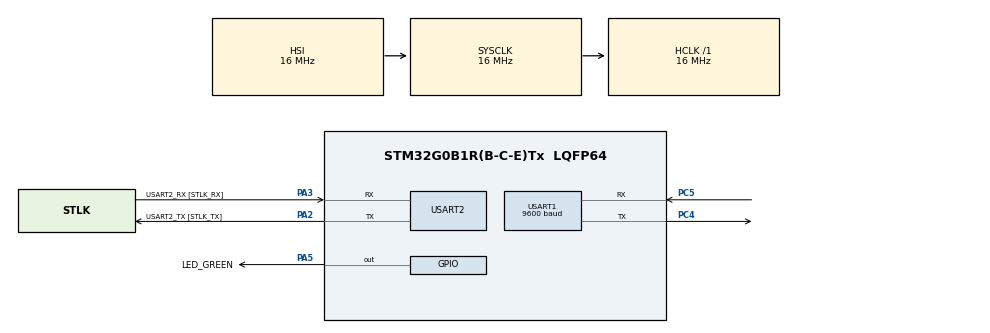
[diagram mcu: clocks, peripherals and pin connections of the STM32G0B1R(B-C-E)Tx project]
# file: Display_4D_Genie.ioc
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Mcu.Family=STM32G0
Mcu.Name=STM32G0B1R(B-C-E)Tx
Mcu.Package=LQFP64
NVIC.USART1_IRQn=true\:0\:0\:false\:false\:true\:true\:true
PA13.GPIO_Label=TMS
PA13.Mode=Serial_Wire
PA13.Signal=SYS_SWDIO
PA14-BOOT0.GPIO_Label=TCK
PA14-BOOT0.Mode=Serial_Wire
PA14-BOOT0.Signal=SYS_SWCLK
PA2.GPIO_Label=USART2_TX [STLK_TX]
PA2.Mode=Asynchronous
PA2.Signal=USART2_TX
PA3.GPIO_Label=USART2_RX [STLK_RX]
PA3.Mode=Asynchronous
PA3.Signal=USART2_RX
PA5.GPIO_Label=LED_GREEN
PA5.GPIO_Speed=GPIO_SPEED_FREQ_HIGH
PA5.Signal=GPIO_Output
PC13.Mode=SYS_WakeUp1
PC13.Signal=SYS_WKUP2
PC14-OSC32_IN\ (PC14).Mode=LSE-External-Oscillator
PC14-OSC32_IN\ (PC14).Signal=RCC_OSC32_IN
PC15-OSC32_OUT\ (PC15).Mode=LSE-External-Oscillator
PC15-OSC32_OUT\ (PC15).Signal=RCC_OSC32_OUT
PC4.GPIO_PuPd=GPIO_PULLUP
PC4.Mode=Asynchronous
PC4.Signal=USART1_TX
PC5.GPIO_PuPd=GPIO_PULLUP
PC5.Mode=Asynchronous
PC5.Signal=USART1_RX
PF0-OSC_IN\ (PF0).GPIO_Label=MCO
PF0-OSC_IN\ (PF0).Mode=HSE-External-Clock-Source
PF0-OSC_IN\ (PF0).Signal=RCC_OSC_IN
ProjectManager.HeapSize=0x200
ProjectManager.StackSize=0x400
ProjectManager.TargetToolchain=STM32CubeIDE
RCC.AHBFreq_Value=16000000
RCC.CortexFreq_Value=16000000
RCC.EXTERNAL_CLOCK_VALUE=12288000
RCC.HCLKFreq_Value=16000000
RCC.HSE_VALUE=8000000
RCC.HSI48_VALUE=48000000
RCC.HSI_VALUE=16000000
RCC.SYSCLKFreq_VALUE=16000000
RCC.USBFreq_Value=48000000
RCC.VCOOutputFreq_Value=128000000
USART1.BaudRate=9600
USART1.VirtualMode-Asynchronous=VM_ASYNC
USART2.VirtualMode-Asynchronous=VM_ASYNC
VP_SYS_VS_DBSignals.Mode=DisableDeadBatterySignals
board=NUCLEO-G0B1RE

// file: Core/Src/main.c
/* USER CODE BEGIN Header */
/**
  ******************************************************************************
  * @file           : main.c
  * @brief          : Main program body
  ******************************************************************************
  * @attention
  *
  * <h2><center>&copy; Copyright (c) 2021 STMicroelectronics.
  * All rights reserved.</center></h2>
  *
  * This software component is licensed by ST under BSD 3-Clause license,
  * the "License"; You may not use this file except in compliance with the
  * License. You may obtain a copy of the License at:
  *                        opensource.org/licenses/BSD-3-Clause
  *
  ******************************************************************************
  */
/* USER CODE END Header */
#include "main.h"

/* USER CODE BEGIN Includes */
#include <stdarg.h>
#include "visi_genie.h"
/* USER CODE END Includes */

/* USER CODE BEGIN PTD */
typedef enum {
	RX_REINITIALIZE,
	RX_READY
} RxStatus;
/* USER CODE END PTD */

/* USER CODE BEGIN PD */
#define RX_BUF_SIZE			64
#define UPDATE_INTERVAL		10

#define CW	0
#define CCW 1
/* USER CODE END PD */

UART_HandleTypeDef huart1;
UART_HandleTypeDef huart2;

/* USER CODE BEGIN PV */
struct RxBuffer {
    uint8_t data[RX_BUF_SIZE];
    uint8_t head; // read from head
    uint8_t tail; // write from tail
    uint8_t count;
    uint8_t new;
    RxStatus status;
} rx_buffer;
/* USER CODE END PV */

void SystemClock_Config(void);
static void MX_GPIO_Init(void);
static void MX_USART2_UART_Init(void);
static void MX_USART1_UART_Init(void);

/* USER CODE BEGIN 0 */
// Uart Functions

char buffer[100];
void myprintf(const char *fmt, ...) {
  va_list args;
  va_start(args, fmt);
  vsnprintf(buffer, sizeof(buffer), fmt, args);
  va_end(args);

  int len = strlen(buffer);
  HAL_UART_Transmit(&huart2, (uint8_t*)buffer, len, 1000);

}

RxStatus ReInitializeRX() {
	HAL_StatusTypeDef res = HAL_UART_Receive_IT(&huart1, &rx_buffer.new, 1);
	if (res != HAL_OK) {
		//myprintf("Failed to Initialize RX Interrupt\r\n");
		return RX_REINITIALIZE;
	}
	return RX_READY;
}

RxStatus InitializeRX() {
	rx_buffer.count = 0;
	rx_buffer.head = 0;
	rx_buffer.tail = 0;
	rx_buffer.new = 0;
	memset(rx_buffer.data, 0, RX_BUF_SIZE);

	HAL_StatusTypeDef res = HAL_UART_Receive_IT(&huart1, &rx_buffer.new, 1);
	if (res != HAL_OK) {
		return RX_REINITIALIZE;
	}
	return RX_READY;
}

void HAL_UART_RxCpltCallback(UART_HandleTypeDef *huart) {
	HAL_UART_Receive_IT(&huart1, &rx_buffer.new, 1);

	rx_buffer.data[rx_buffer.tail++] = rx_buffer.new;
	if (rx_buffer.tail == RX_BUF_SIZE) rx_buffer.tail = 0;

	rx_buffer.count++;

	rx_buffer.status = ReInitializeRX();
}

void ResetDisplay() {
	//HAL_GPIO_WritePin(DISP_RST_GPIO_Port, DISP_RST_Pin, GPIO_PIN_RESET);
	HAL_Delay(500);
	//HAL_GPIO_WritePin(DISP_RST_GPIO_Port, DISP_RST_Pin, GPIO_PIN_SET);
	HAL_Delay(3000);
}

// Externs

void showError(uint16_t interval) {
    while (1) {
	//	HAL_GPIO_WritePin(LED_GPIO_Port, LED_Pin, GPIO_PIN_SET); // here we toggle the led on and off after every successful ping interval.
		HAL_Delay(interval);
	//	HAL_GPIO_WritePin(LED_GPIO_Port, LED_Pin, GPIO_PIN_RESET);
		HAL_Delay(interval);
	}
}

unsigned long millis(void) {
	return HAL_GetTick();
}

uint16_t genieGetByteCount() {
	//myprintf("Genie Bytes Available : %i\r\n",rx_buffer.count);
	return rx_buffer.count;
}

void geniePutByte(uint8_t c) {
	HAL_UART_Transmit(&huart1, &c, 1, 10000);
	if (rx_buffer.status == RX_REINITIALIZE) {
		rx_buffer.status = ReInitializeRX();
	}
}

uint8_t genieGetByte() {
	if (rx_buffer.count == 0) return -1;
	uint8_t val = rx_buffer.data[rx_buffer.head++];
	if (rx_buffer.head == RX_BUF_SIZE) rx_buffer.head = 0;
	rx_buffer.count--;
	return val;
}

uint8_t geniePeekByte() {
	return rx_buffer.data[rx_buffer.head];
}

// Handlers
void myDebugHandler(char *str){
	myprintf("%s\r\n", str);
}

void myGenieEventHandler(void) {
	genieFrame Event;
	genieDequeueEvent(&Event);

	//If the cmd received is from a Reported Event (Events triggered from the Events tab of Workshop4 objects)
	static int slider_val = 0;

	/* If the commamd received is from a Reported Event, it will be processed here. */
	if (Event.reportObject.cmd == GENIE_REPORT_EVENT) {
	    if (Event.reportObject.object == GENIE_OBJ_SLIDER) { // If the Reported Message was from a Slider
	        if (Event.reportObject.index == 0) { // If Slider0 (Index = 0)
	            slider_val = genieGetEventData( & Event); // Receive the event data from the Slider0
	            genieWriteObject(GENIE_OBJ_LED_DIGITS, 0, slider_val); // Write Slider0 value to to LED Digits 0
	        }
	    }
	}

	/* If the commamd received is from a Reported Object, which occurs if a Read Object (genie.ReadOject) is requested in the main code, reply processed here. */
	else if (Event.reportObject.cmd == GENIE_REPORT_OBJ) {
	    if (Event.reportObject.object == GENIE_OBJ_USER_LED) { // If the Reported Message was from a User LED
	        if (Event.reportObject.index == 0) { // If UserLed0 (Index = 0)
	            bool UserLed0_val = genieGetEventData( & Event); // Receive the event data from the UserLed0
	            UserLed0_val = !UserLed0_val; // Toggle the state of the User LED Variable
	            genieWriteObject(GENIE_OBJ_USER_LED, 0, UserLed0_val); // Write UserLed0_val value back to to UserLed0
	        }
	    }
	}

	/********** This can be expanded as more objects are added that need to be captured *************
	*************************************************************************************************
	Event.reportObject.cmd is used to determine the command of that event, such as an reported event
	Event.reportObject.object is used to determine the object type, such as a Slider
	Event.reportObject.index is used to determine the index of the object, such as Slider0
	genieGetEventData(&Event) us used to save the data from the Event, into a variable.
	*************************************************************************************************/
	else if (Event.reportObject.cmd == GENIE_PING) {
	    if (Event.reportObject.object == GENIE_DISCONNECTED) {
	        /* This function runs once, when the LCD is disconnected, because it was turned off or out of sync.
	        You may use this to process necessary code. */
	    	//HAL_GPIO_WritePin(LED_GPIO_Port, LED_Pin, GPIO_PIN_SET);

//			uint16_t reason = genieGetEventData(&Event); // Receive the reason
//			if (reason == 1) {
//				HAL_GPIO_WritePin(LED_GPIO_Port, LED_Pin, GPIO_PIN_SET);
//				while (1);
//			} else {
//				while (1) {
//					HAL_GPIO_WritePin(LED_GPIO_Port, LED_Pin, GPIO_PIN_SET); // here we toggle the led on and off after every successful ping interval.
//					HAL_Delay(500);
//					HAL_GPIO_WritePin(LED_GPIO_Port, LED_Pin, GPIO_PIN_RESET);
//					HAL_Delay(500);
//				}
//			}

	    } else if (Event.reportObject.object == GENIE_READY) {
	        /* This function runs once, when the LCD is connected and synchronized.
	        You may use this to restore screen widgets, or process other code. */
	    	genieWriteObject(GENIE_OBJ_LED_DIGITS, 0, slider_val); // Restore Leddigits0
	        genieWriteObject(GENIE_OBJ_SLIDER, 0, slider_val); // Restore Slider0
	        static int recover_times = -1; // how many times did the display recover?
	        recover_times++;
//	        genieWriteStr(0, (String) GENIE_VERSION + "\n\n\tRecovered " + recover_times + " Time(s)!"); // Restore text in Strings0
	    } else if (Event.reportObject.object == GENIE_ACK) {
	        /* If a user issues a genie.Ping(interval) request and it passes,
	        this function will happen every 'interval' times chosen by the user. */
//	         HAL_GPIO_WritePin(LED_GPIO_Port, LED_Pin, GPIO_PIN_SET); // here we toggle the led on and off after every successful ping interval.
//	         HAL_Delay(20);
//	         HAL_GPIO_WritePin(LED_GPIO_Port, LED_Pin, GPIO_PIN_RESET);
	    } else if (Event.reportObject.object == GENIE_NAK) {
	        /* If a user issues a genie.Ping(interval) request and it fails,
	        this function will happen every 'interval' times chosen by the user. */
	    }
	}
}
/* USER CODE END 0 */

int main(void)
{

  /* MCU Configuration--------------------------------------------------------*/

  /* Reset of all peripherals, Initializes the Flash interface and the Systick. */
  HAL_Init();

  /* Configure the system clock */
  SystemClock_Config();

  /* Initialize all configured peripherals */
  MX_GPIO_Init();
  MX_USART2_UART_Init();
  MX_USART1_UART_Init();
  /* USER CODE BEGIN 2 */

  ResetDisplay();
  InitializeRX();
  genieBegin();
  genieAttachEventHandler(myGenieEventHandler);
  genieAttachDebugger(myprintf);
  unsigned long lastUpdate = 0;

  int coolgaugeVal;
  bool gaugeRotation = CW;

  if (genieOnline()) {
      /* Set the brightness/Contrast of the Display - (Not needed but illustrates how)
      Most Displays, 1 = Display ON, 0 = Display OFF. See below for exceptions and for DIABLO16 displays.
      For uLCD-43, uLCD-220RD, uLCD-70DT, and uLCD-35DT, use 0-15 for Brightness Control, where 0 = Display OFF, though to 15 = Max Brightness ON. */
      genieWriteContrast(15);
  } else

  /* returns the current form the lcd is on */
  if (genieCurrentForm() == 0) {
      // if lcd is on form 0, do something.
  }

  genieWriteStr(0, GENIE_VERSION);
  lastUpdate = millis() - UPDATE_INTERVAL;

  uint8_t state;
  /* USER CODE END 2 */

  /* Infinite loop */
  /* USER CODE BEGIN WHILE */
  while (1)
  {

	  genieDoEvents();
	  if (millis() - lastUpdate >= UPDATE_INTERVAL) {
		  lastUpdate = millis();
		  state = !(state);

		  if (state) genieWriteStr(0, "Programa DEMO");
		  else genieWriteStr(0, GENIE_VERSION);

		 // HAL_GPIO_WritePin(LED_GPIO_Port, LED_Pin, state);
		  if (genieOnline()) { // check if the display is online (connected) and if on Form0
		      if (gaugeRotation == CW) {
		          coolgaugeVal++;
		          if (coolgaugeVal > 100) {
		              coolgaugeVal = 100;
		              gaugeRotation = CCW;
		          }
		      } else if (gaugeRotation == CCW) {
		          coolgaugeVal--;
		          if (coolgaugeVal < 0) {
		              coolgaugeVal = 0;
		              gaugeRotation = CW;
		          }
		      }
			genieWriteObject(GENIE_OBJ_COOL_GAUGE, 0, coolgaugeVal);

			// The results of this call will be available to myGenieEventHandler() after the display has responded
			genieReadObject(GENIE_OBJ_USER_LED, 0); // Do a manual read from the UserLEd0 object
		}
	  }
    /* USER CODE END WHILE */

  }
}

void SystemClock_Config(void)
{
  RCC_OscInitTypeDef RCC_OscInitStruct = {0};
  RCC_ClkInitTypeDef RCC_ClkInitStruct = {0};
  RCC_PeriphCLKInitTypeDef PeriphClkInit = {0};

  /** Configure the main internal regulator output voltage
  */
  HAL_PWREx_ControlVoltageScaling(PWR_REGULATOR_VOLTAGE_SCALE1);
  /** Initializes the RCC Oscillators according to the specified parameters
  * in the RCC_OscInitTypeDef structure.
  */
  RCC_OscInitStruct.OscillatorType = RCC_OSCILLATORTYPE_HSI;
  RCC_OscInitStruct.HSIState = RCC_HSI_ON;
  RCC_OscInitStruct.HSIDiv = RCC_HSI_DIV1;
  RCC_OscInitStruct.HSICalibrationValue = RCC_HSICALIBRATION_DEFAULT;
  RCC_OscInitStruct.PLL.PLLState = RCC_PLL_NONE;
  if (HAL_RCC_OscConfig(&RCC_OscInitStruct) != HAL_OK)
  {
    Error_Handler();
  }
  /** Initializes the CPU, AHB and APB buses clocks
  */
  RCC_ClkInitStruct.ClockType = RCC_CLOCKTYPE_HCLK|RCC_CLOCKTYPE_SYSCLK
                              |RCC_CLOCKTYPE_PCLK1;
  RCC_ClkInitStruct.SYSCLKSource = RCC_SYSCLKSOURCE_HSI;
  RCC_ClkInitStruct.AHBCLKDivider = RCC_SYSCLK_DIV1;
  RCC_ClkInitStruct.APB1CLKDivider = RCC_HCLK_DIV1;

  if (HAL_RCC_ClockConfig(&RCC_ClkInitStruct, FLASH_LATENCY_0) != HAL_OK)
  {
    Error_Handler();
  }
  /** Initializes the peripherals clocks
  */
  PeriphClkInit.PeriphClockSelection = RCC_PERIPHCLK_USART1|RCC_PERIPHCLK_USART2;
  PeriphClkInit.Usart1ClockSelection = RCC_USART1CLKSOURCE_PCLK1;
  PeriphClkInit.Usart2ClockSelection = RCC_USART2CLKSOURCE_PCLK1;
  if (HAL_RCCEx_PeriphCLKConfig(&PeriphClkInit) != HAL_OK)
  {
    Error_Handler();
  }
}

static void MX_USART1_UART_Init(void)
{

  huart1.Instance = USART1;
  huart1.Init.BaudRate = 9600;
  huart1.Init.WordLength = UART_WORDLENGTH_8B;
  huart1.Init.StopBits = UART_STOPBITS_1;
  huart1.Init.Parity = UART_PARITY_NONE;
  huart1.Init.Mode = UART_MODE_TX_RX;
  huart1.Init.HwFlowCtl = UART_HWCONTROL_NONE;
  huart1.Init.OverSampling = UART_OVERSAMPLING_16;
  huart1.Init.OneBitSampling = UART_ONE_BIT_SAMPLE_DISABLE;
  huart1.Init.ClockPrescaler = UART_PRESCALER_DIV1;
  huart1.AdvancedInit.AdvFeatureInit = UART_ADVFEATURE_NO_INIT;
  if (HAL_UART_Init(&huart1) != HAL_OK)
  {
    Error_Handler();
  }
  if (HAL_UARTEx_SetTxFifoThreshold(&huart1, UART_TXFIFO_THRESHOLD_1_8) != HAL_OK)
  {
    Error_Handler();
  }
  if (HAL_UARTEx_SetRxFifoThreshold(&huart1, UART_RXFIFO_THRESHOLD_1_8) != HAL_OK)
  {
    Error_Handler();
  }
  if (HAL_UARTEx_DisableFifoMode(&huart1) != HAL_OK)
  {
    Error_Handler();
  }

}

static void MX_USART2_UART_Init(void)
{

  huart2.Instance = USART2;
  huart2.Init.BaudRate = 115200;
  huart2.Init.WordLength = UART_WORDLENGTH_8B;
  huart2.Init.StopBits = UART_STOPBITS_1;
  huart2.Init.Parity = UART_PARITY_NONE;
  huart2.Init.Mode = UART_MODE_TX_RX;
  huart2.Init.HwFlowCtl = UART_HWCONTROL_NONE;
  huart2.Init.OverSampling = UART_OVERSAMPLING_16;
  huart2.Init.OneBitSampling = UART_ONE_BIT_SAMPLE_DISABLE;
  huart2.Init.ClockPrescaler = UART_PRESCALER_DIV1;
  huart2.AdvancedInit.AdvFeatureInit = UART_ADVFEATURE_NO_INIT;
  if (HAL_UART_Init(&huart2) != HAL_OK)
  {
    Error_Handler();
  }
  if (HAL_UARTEx_SetTxFifoThreshold(&huart2, UART_TXFIFO_THRESHOLD_1_8) != HAL_OK)
  {
    Error_Handler();
  }
  if (HAL_UARTEx_SetRxFifoThreshold(&huart2, UART_RXFIFO_THRESHOLD_1_8) != HAL_OK)
  {
    Error_Handler();
  }
  if (HAL_UARTEx_DisableFifoMode(&huart2) != HAL_OK)
  {
    Error_Handler();
  }

}

static void MX_GPIO_Init(void)
{
  GPIO_InitTypeDef GPIO_InitStruct = {0};

  /* GPIO Ports Clock Enable */
  __HAL_RCC_GPIOC_CLK_ENABLE();
  __HAL_RCC_GPIOF_CLK_ENABLE();
  __HAL_RCC_GPIOA_CLK_ENABLE();

  /*Configure GPIO pin Output Level */
  HAL_GPIO_WritePin(LED_GREEN_GPIO_Port, LED_GREEN_Pin, GPIO_PIN_RESET);

  /*Configure GPIO pin : LED_GREEN_Pin */
  GPIO_InitStruct.Pin = LED_GREEN_Pin;
  GPIO_InitStruct.Mode = GPIO_MODE_OUTPUT_PP;
  GPIO_InitStruct.Pull = GPIO_NOPULL;
  GPIO_InitStruct.Speed = GPIO_SPEED_FREQ_HIGH;
  HAL_GPIO_Init(LED_GREEN_GPIO_Port, &GPIO_InitStruct);

}

void Error_Handler(void)
{
  __disable_irq();
  while (1)
  {
  }
}

/************************ (C) COPYRIGHT STMicroelectronics *****END OF FILE****/
